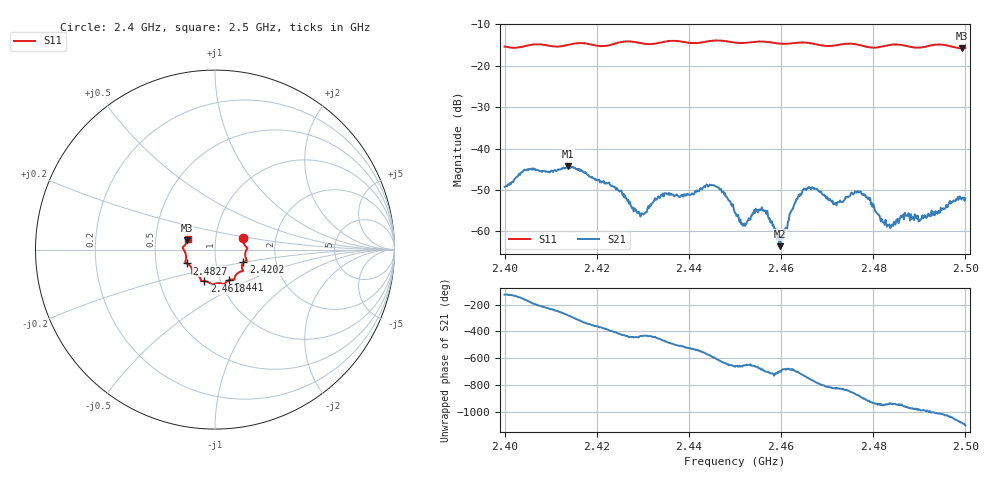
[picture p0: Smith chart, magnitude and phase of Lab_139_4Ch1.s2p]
# Hz S RI R 50
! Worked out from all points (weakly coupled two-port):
!   601 points, 2.4 GHz to 2.5 GHz, reference 50 ohm
!   highest |S21| = -44.29 dB at 2.4137 GHz (marker M1); lowest = -63.6 dB at 2.4597 GHz (marker M2)
!   lowest |S11| = -15.8 dB at 2.4993 GHz (marker M3), VSWR 1.39, Z = 36.5 + j3.85 ohm
!   |S11| at or under -10 dB: start of sweep to end of sweep
!   S12 and S22 are empty: the file has one direction only
!   S11 on the Smith chart (normalised r, x): 2.4 GHz: 1.36, +0.18; 2.4202 GHz: 1.36, -0.20; 2.441 GHz: 1.10, -0.39; 2.4618 GHz: 0.84, -0.30; 2.4827 GHz: 0.72, -0.12; 2.5 GHz: 0.73, +0.09
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2.4e9  0.1583 0.0628  -0.00203 -0.00277  0 0  0 0
2.4045e9  0.1718 0.0165  -0.00535 -0.0014  0 0  0 0
2.413667e9  0.1714 -0.0461  0.000894 0.00604  0 0  0 0
2.416667e9  0.1771 -0.0609  0.00435 0.00315  0 0  0 0
2.420167e9  0.1586 -0.071  0.00412 -0.000167  0 0  0 0
2.429833e9  0.1382 -0.1238  0.000503 -0.00157  0 0  0 0
2.433333e9  0.1115 -0.1507  -0.000126 -0.00265  0 0  0 0
2.441e9  0.0787 -0.1697  -0.00275 -0.000397  0 0  0 0
2.445833e9  0.0502 -0.1949  -0.00162 0.00308  0 0  0 0
2.45e9  0.0286 -0.1875  0.000914 0.00139  0 0  0 0
2.451833e9  0.00979 -0.1876  0.00045 0.00109  0 0  0 0
2.456167e9  -0.0167 -0.1947  0.00155 0.000909  0 0  0 0
2.459667e9  -0.0379 -0.1805  0.000602 0.000279  0 0  0 0
2.461833e9  -0.0589 -0.1754  0.00128 0.000989  0 0  0 0
2.464333e9  -0.0747 -0.1752  0.00276 0.000169  0 0  0 0
2.466667e9  -0.0788 -0.1684  0.00253 -0.0023  0 0  0 0
2.471833e9  -0.1119 -0.1357  -0.000582 -0.00213  0 0  0 0
2.477667e9  -0.127 -0.1188  -0.00276 -0.00025  0 0  0 0
2.482667e9  -0.156 -0.0772  -0.00102 0.000937  0 0  0 0
2.483333e9  -0.1603 -0.0752  -0.000913 0.000786  0 0  0 0
2.499333e9  -0.1539 0.0513  0.00254 -0.000104  0 0  0 0
2.5e9  -0.152 0.0606  0.00238 -0.000811  0 0  0 0
